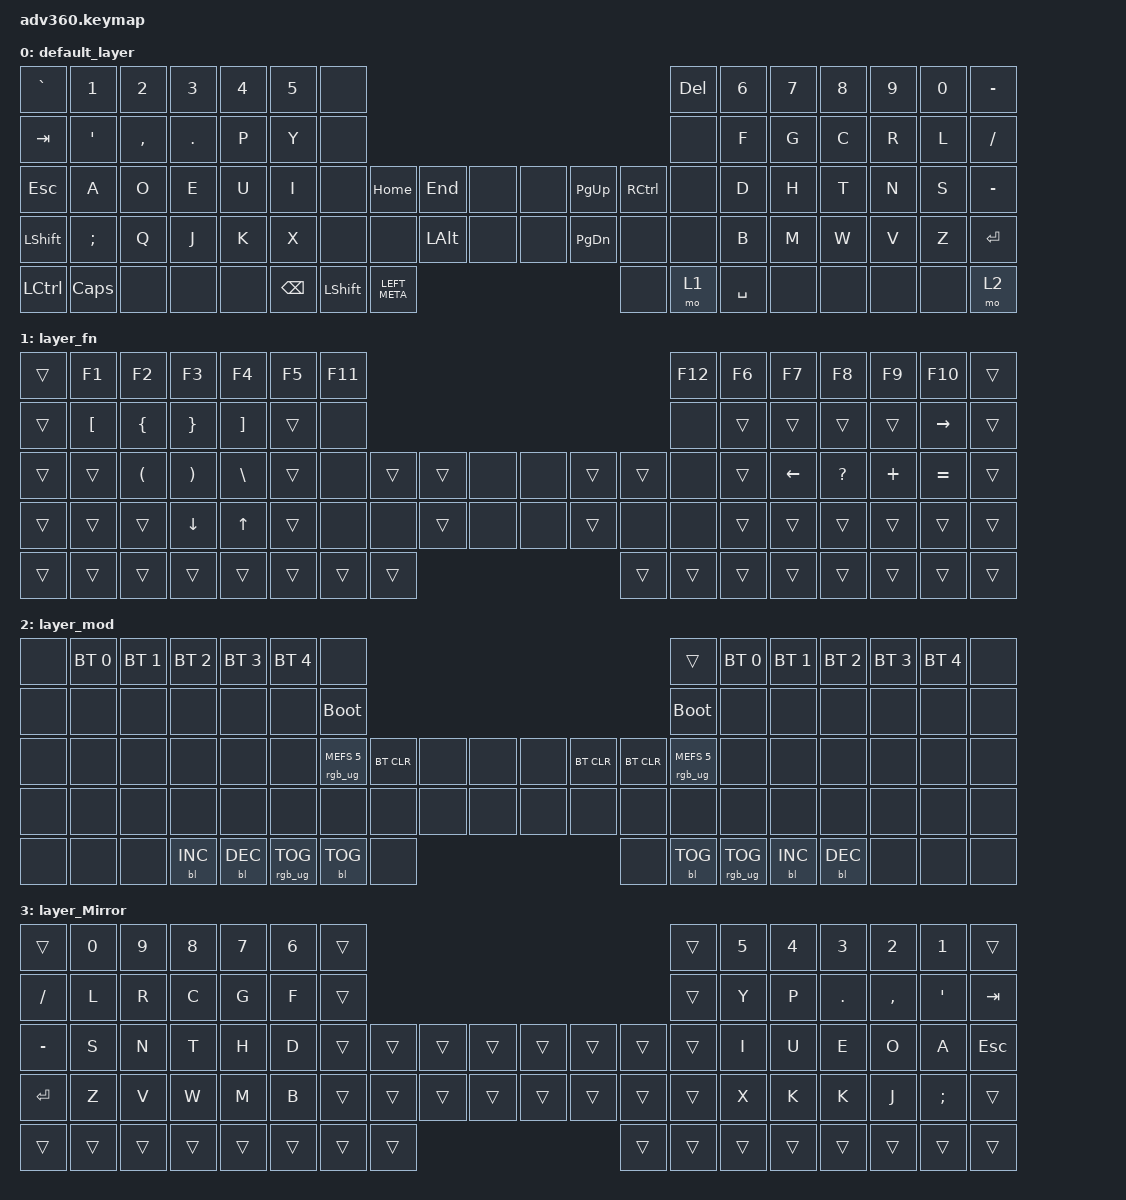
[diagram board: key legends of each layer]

/*
 * Copyright (c) 2020 The ZMK Contributors
 *
 * SPDX-License-Identifier: MIT
 */


/* THIS FILE WAS GENERATED!
 *
 * This file was generated automatically. You may or may not want to
 * edit it directly.
 */

#include <behaviors.dtsi>
#include <dt-bindings/zmk/keys.h>
#include <dt-bindings/zmk/bt.h>
#include <dt-bindings/zmk/rgb.h>
#include <dt-bindings/zmk/backlight.h>

/ {
  behaviors {
    #include "macros.dtsi"

    hm: homerow_mods {
        compatible = "zmk,behavior-hold-tap";
        label = "HOMEROW_MODS";
        #binding-cells = <2>;
        tapping-term-ms = <200>;
        quick_tap_ms = <175>;
        flavor = "tap-preferred";
        bindings = <&kp>, <&kp>;
    };
  };

    keymap {
        compatible = "zmk,keymap";


        default_layer {
            bindings = <
 &kp GRAVE          &kp N1     &kp N2      &kp N3  &kp N4  &kp N5               &none                                                                       &kp DELETE  &kp N6  &kp N7  &kp N8  &kp N9  &kp N0  &kp MINUS
   &kp TAB  &kp APOSTROPHE  &kp COMMA  &kp PERIOD   &kp P   &kp Y               &none                                                                            &none   &kp F   &kp G   &kp C   &kp R   &kp L   &kp FSLH
   &kp ESC           &kp A      &kp O       &kp E   &kp U   &kp I               &none        &kp HOME        &kp END   &none   &none  &kp PG_UP  &kp RCTRL       &none   &kp D   &kp H   &kp T   &kp N   &kp S  &kp MINUS
 &kp LSHFT   &kp SEMICOLON      &kp Q       &kp J   &kp K   &kp X               &none           &none   &kp LEFT_ALT   &none   &none  &kp PG_DN      &none       &none   &kp B   &kp M   &kp W   &kp V   &kp Z  &kp ENTER
 &kp LCTRL        &kp CAPS      &none       &none   &none                    &kp BSPC  &kp LEFT_SHIFT  &kp LEFT_META                      &none      &mo 1   &kp SPACE           &none   &none   &none   &none      &mo 2
            >;
        };

        layer_fn {
            bindings = <
 &trans            &kp F1                &kp F2                 &kp F3             &kp F4  &kp F5            &kp F11                                                  &kp F12  &kp F6    &kp F7        &kp F8    &kp F9    &kp F10  &trans
 &trans  &kp LEFT_BRACKET        &kp LEFT_BRACE        &kp RIGHT_BRACE  &kp RIGHT_BRACKET  &trans              &none                                                    &none  &trans    &trans        &trans    &trans  &kp RIGHT  &trans
 &trans            &trans  &kp LEFT_PARENTHESIS  &kp RIGHT_PARENTHESIS      &kp BACKSLASH  &trans              &none  &trans  &trans   &none   &none  &trans  &trans    &none  &trans  &kp LEFT  &kp QUESTION  &kp PLUS  &kp EQUAL  &trans
 &trans            &trans                &trans               &kp DOWN             &kp UP  &trans              &none   &none  &trans   &none   &none  &trans   &none    &none  &trans    &trans        &trans    &trans     &trans  &trans
 &trans            &trans                &trans                 &trans             &trans                     &trans  &trans  &trans                  &trans  &trans   &trans            &trans        &trans    &trans     &trans  &trans
            >;
        };

        layer_mod {
            bindings = <
  &none  &bt BT_SEL 0  &bt BT_SEL 1  &bt BT_SEL 2  &bt BT_SEL 3  &bt BT_SEL 4                             &none                                                                              &trans  &bt BT_SEL 0  &bt BT_SEL 1  &bt BT_SEL 2  &bt BT_SEL 3  &bt BT_SEL 4   &none
  &none         &none         &none         &none         &none         &none                       &bootloader                                                                         &bootloader         &none         &none         &none         &none         &none   &none
  &none         &none         &none         &none         &none         &none            &rgb_ug RGB_MEFS_CMD 5  &bt BT_CLR   &none   &none   &none  &bt BT_CLR  &bt BT_CLR  &rgb_ug RGB_MEFS_CMD 5         &none         &none         &none         &none         &none   &none
  &none         &none         &none         &none         &none         &none                             &none       &none   &none   &none   &none       &none       &none                   &none         &none         &none         &none         &none         &none   &none
  &none         &none         &none    &bl BL_INC    &bl BL_DEC                                 &rgb_ug RGB_TOG  &bl BL_TOG   &none                       &none  &bl BL_TOG         &rgb_ug RGB_TOG                  &bl BL_INC    &bl BL_DEC         &none         &none   &none
            >;
        };

        layer_Mirror {
            bindings = <
    &trans  &kp NUMBER_0  &kp NUMBER_9  &kp NUMBER_8  &kp NUMBER_7  &kp NUMBER_6            &trans                                                  &trans  &kp NUMBER_5  &kp NUMBER_4  &kp NUMBER_3  &kp NUMBER_2   &kp NUMBER_1   &trans
 &kp SLASH         &kp L         &kp R         &kp C         &kp G         &kp F            &trans                                                  &trans         &kp Y         &kp P    &kp PERIOD     &kp COMMA       &kp APOS  &kp TAB
 &kp MINUS         &kp S         &kp N         &kp T         &kp H         &kp D            &trans  &trans  &trans  &trans  &trans  &trans  &trans  &trans         &kp I         &kp U         &kp E         &kp O          &kp A  &kp ESC
 &kp ENTER         &kp Z         &kp V         &kp W         &kp M         &kp B            &trans  &trans  &trans  &trans  &trans  &trans  &trans  &trans         &kp X         &kp K         &kp K         &kp J  &kp SEMICOLON   &trans
    &trans        &trans        &trans        &trans        &trans                          &trans  &trans  &trans                  &trans  &trans  &trans                      &trans        &trans        &trans         &trans   &trans
            >;
        };

    };
};
